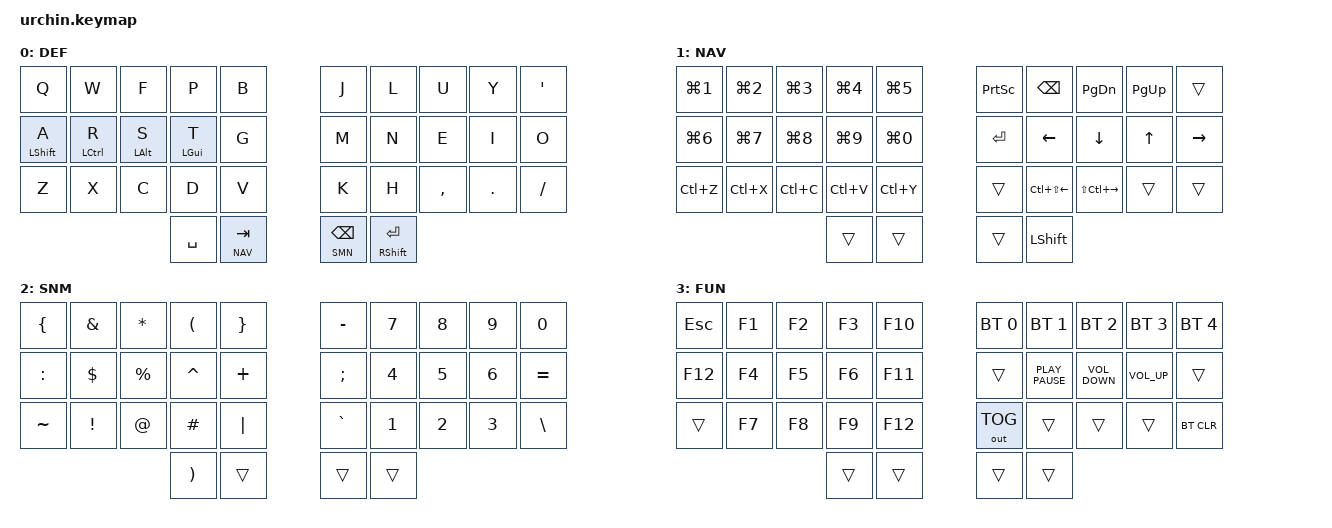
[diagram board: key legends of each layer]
/*
* Copyright (c) 2025 eXsoR
*
* SPDX-License-Identifier: MIT
*/

#include <behaviors.dtsi>
#include <dt-bindings/zmk/keys.h>
#include <dt-bindings/zmk/bt.h>
#include <dt-bindings/zmk/outputs.h>

// Layer definitions
#define DEF 0
#define NAV 1
#define SMN 2
#define FUN 3
// -----------------

// Layer-Tap and Mod-Tap Config Preferences
&lt {
    tapping-term-ms = <240>;
    flavor = "tap-preferred";
    quick-tap-ms = <150>;
    require-prior-idle-ms = <10>;
};

&mt {
    tapping-term-ms = <250>;
    flavor = "tap-preferred";
    require-prior-idle-ms = <250>;
};


/* 
 * Combos, Behaviors, and Keymap
 *╭──────┬──────┬──────┬──────┬──────╮  ╭──────┬──────┬──────┬──────┬──────╮
 *   00     01     02     03     04        05     06     07     08     09 
 *├──────┼──────┼──────┼──────┼──────┤  ├──────┼──────┼──────┼──────┼──────┤
 *   10     11     12     13     14        15     16     17     18     19
 *├──────┼──────┼──────┼──────┼──────┤  ├──────┼──────┼──────┼──────┼──────┤
 *   20     21     22     23     24        25     26     27     28     29 
 *╰──────┴──────┴──────┼──────┼──────┤  ├──────┼──────┼──────┴──────┴──────╯
 *                        30     31        32     33
 *                     ╰──────┴──────╯  ╰──────┴──────╯
*/


/ {
	behaviors {
    	Shift_Enter: Shift_Enter {
        	compatible = "zmk,behavior-hold-tap";
       		display-name = "SHIFT_ENTER";
        	bindings = <&kp>, <&kp>;
        	#binding-cells = <2>;
        	hold-trigger-key-positions = <33>;
        	tapping-term-ms = <150>;
    	};
	};

	combos {
    compatible = "zmk,combos";

    	ParaLeft {
        	bindings = <&kp LEFT_PARENTHESIS>;
        	key-positions = <3 13>;
    	};

    	ParaRight {
       		bindings = <&kp RIGHT_PARENTHESIS>;
    		key-positions = <6 16>;
    	};

    	BrakLeft {
        	bindings = <&kp LEFT_BRACKET>;
        	key-positions = <2 12>;
    	};

    	BrakRight {
        	bindings = <&kp RIGHT_BRACKET>;
    		key-positions = <7 17>;
   		};

    	BraceLeft {
        	bindings = <&kp LEFT_BRACE>;
        	key-positions = <1 11>;
    	};

    	BraceRight {
    		bindings = <&kp RIGHT_BRACE>;
        	key-positions = <8 18>;
    	};

    	Delete {
        	bindings = <&kp DEL>;
        	key-positions = <7 8>;
    	};

    	CapsWord {
        	bindings = <&caps_word>;
        	key-positions = <14 15>;
    	};
 	};

   	conditional_layers {
    	compatible = "zmk,conditional-layers";
    	tri_layer {
        	if-layers = <1 2>;
        	then-layer = <3>;
        };
    };

	keymap {
		compatible = "zmk,keymap";

    // Base Colamak-DH Layer
		default_layer {
			display-name = "DEF";
			bindings = <
			  &kp Q            &kp W              &kp F          &kp P          &kp B    &kp J &kp L &kp U     &kp Y   &kp APOS 
			  &mt LEFT_SHIFT A &mt LEFT_CONTROL R &mt LEFT_ALT S &mt LEFT_GUI T &kp G    &kp M &kp N &kp E     &kp I   &kp O
			  &kp Z            &kp X              &kp C          &kp D          &kp V    &kp K &kp H &kp COMMA &kp DOT &kp SLASH
			  &kp SPACE &lt NAV TAB    &lt SMN BSPC &Shift_Enter RIGHT_SHIFT ENTER
			>;
		};

    // Navigation Layer
    nav_layer {
      display-name = "NAV";
      bindings = <
        &kp LG(N1) &kp LG(N2) &kp LG(N3) &kp LG(N4) &kp LG(N5)    &kp PSCRN &kp BSPC    &kp PG_DN         &kp PG_UP &trans
        &kp LG(N6) &kp LG(N7) &kp LG(N8) &kp LG(N9) &kp LG(N0)    &kp ENTER       &kp LEFT         &kp DOWN          &kp UP    &kp RIGHT
        &kp LC(Z)  &kp LC(X)  &kp LC(C)  &kp LC(V)  &kp LC(Y)     &trans          &kp LC(LS(LEFT)) &kp LS(LC(RIGHT)) &trans    &trans
        &trans &trans    &trans &kp LSHFT
      >;
    };

    // Symbol and Number Layer
    symnum_layer {
      display-name = "SNM";
      bindings = <
        &kp LBRC  &kp AMPERSAND &kp STAR    &kp LPAR  &kp RBRC     &kp MINUS &kp N7 &kp N8 &kp N9 &kp N0
        &kp COLON &kp DOLLAR    &kp PERCENT &kp CARET &kp PLUS     &kp SEMI  &kp N4 &kp N5 &kp N6 &kp EQUAL
        &kp TILDE &kp EXCL      &kp AT      &kp POUND &kp PIPE     &kp GRAVE &kp N1 &kp N2 &kp N3 &kp BSLH
        &kp RPAR &trans    &trans &trans
      >;
    };

    // Function, Media, and Bluetooth Layer
    function_layer {
      display-name = "FUN";
      bindings = <
        &kp ESC &kp F1 &kp F2 &kp F3 &kp F10    &bt BT_SEL 0 &bt BT_SEL 1     &bt BT_SEL 2      &bt BT_SEL 3    &bt BT_SEL 4
        &kp F12 &kp F4 &kp F5 &kp F6 &kp F11    &trans       &kp K_PLAY_PAUSE &kp C_VOLUME_DOWN &kp C_VOLUME_UP &trans
        &trans  &kp F7 &kp F8 &kp F9 &kp F12    &out OUT_TOG &trans           &trans            &trans          &bt BT_CLR
        &trans &trans    &trans &trans
      >;
    };
	};
};
